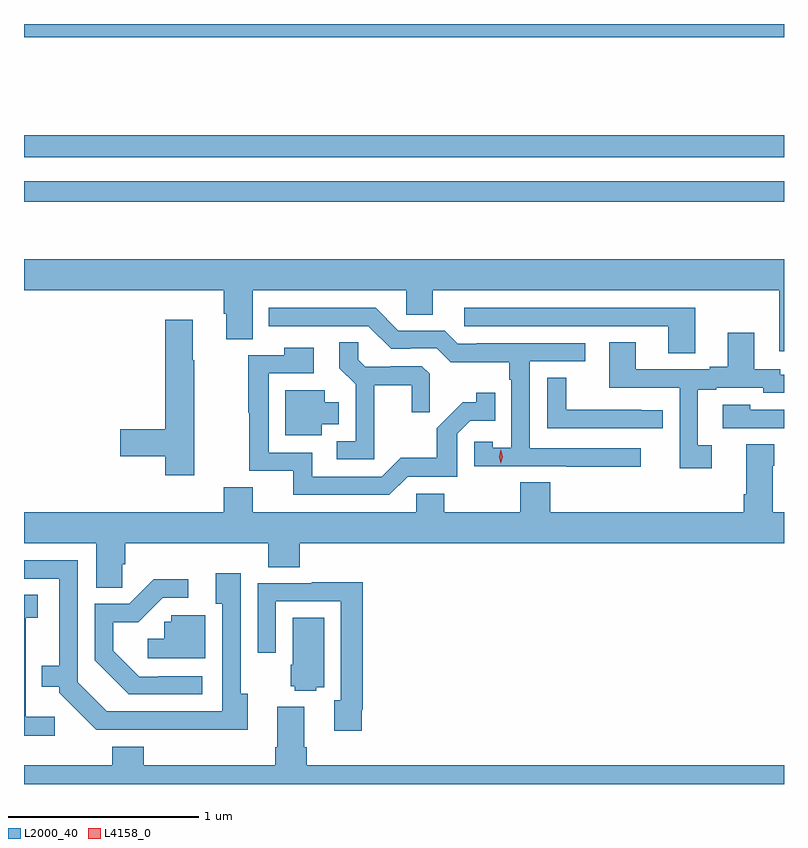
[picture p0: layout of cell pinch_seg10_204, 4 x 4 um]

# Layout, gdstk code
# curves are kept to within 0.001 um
import gdstk
lib = gdstk.Library(unit=1e-6, precision=1e-09)
def R(c, l, rs):  # rectangles x0, y0, x1, y1
    for r in rs: c.add(gdstk.rectangle(r[:2], r[2:], *l))
def P(c, l, *ps):  # polygons
    for p in ps: c.add(gdstk.Polygon(p, *l))
L2000_40 = (2000, 40)
L4158_0 = (4158, 0)

pinch_seg10_204 = lib.new_cell('pinch_seg10_204')
R(pinch_seg10_204, L2000_40, [(768.669,1271.478,772.669,1271.586), (768.669,1271.712,772.669,1271.828), (768.669,1272.344,772.669,1272.414)])
P(pinch_seg10_204, L2000_40, [(772.669,1271.176),(768.669,1271.176),(768.669,1271.012),(769.721,1271.012),(769.721,1270.89),(769.733,1270.89),(769.733,1270.756),(769.873,1270.756),(769.873,1271.012),(770.682,1271.012),(770.682,1270.885),(770.821,1270.885),(770.821,1271.012),(772.643,1271.012),(772.643,1270.692),(772.669,1270.692)],
  [(771.916,1270.182),(771.33,1270.182),(771.33,1270.638),(771.622,1270.638),(771.622,1270.734),(771.052,1270.734),(771.052,1270.731),(770.952,1270.731),(770.883,1270.8),(770.64,1270.8),(770.52,1270.92),(769.958,1270.92),(769.958,1270.824),(770.481,1270.824),(770.601,1270.704),(770.702,1270.704),(770.702,1270.707),(770.841,1270.707),(770.914,1270.634),(771.222,1270.634),(771.222,1270.541),(771.234,1270.541),(771.234,1270.183),(771.135,1270.183),(771.135,1270.215),(771.039,1270.215),(771.039,1270.086),(771.523,1270.086),(771.523,1270.084),(771.916,1270.084)],
  [(772.201,1270.92),(770.985,1270.92),(770.985,1270.824),(772.061,1270.824),(772.061,1270.681),(772.201,1270.681)],
  [(769.566,1270.645),(769.558,1270.645),(769.558,1270.858),(769.412,1270.858),(769.412,1270.28),(769.176,1270.28),(769.176,1270.138),(769.412,1270.138),(769.412,1270.04),(769.566,1270.04)],
  [(772.288,1270.197),(772.216,1270.197),(772.216,1270.488),(772.312,1270.488),(772.312,1270.5),(772.56,1270.5),(772.56,1270.473),(772.669,1270.473),(772.669,1270.569),(772.65,1270.569),(772.65,1270.596),(772.513,1270.596),(772.513,1270.789),(772.373,1270.789),(772.373,1270.609),(772.277,1270.609),(772.277,1270.596),(771.889,1270.596),(771.889,1270.739),(771.749,1270.739),(771.749,1270.5),(772.119,1270.5),(772.119,1270.077),(772.288,1270.077)],
  [(770.513,1270.514),(770.71,1270.514),(770.71,1270.371),(770.804,1270.371),(770.804,1270.573),(770.763,1270.614),(770.598,1270.614),(770.598,1270.611),(770.464,1270.611),(770.427,1270.648),(770.427,1270.739),(770.329,1270.739),(770.329,1270.603),(770.415,1270.517),(770.415,1270.218),(770.316,1270.218),(770.316,1270.122),(770.513,1270.122)],
  [(770.688,1270.032),(770.949,1270.032),(770.949,1270.257),(771.018,1270.326),(771.149,1270.326),(771.149,1270.474),(771.048,1270.474),(771.048,1270.424),(770.978,1270.424),(770.841,1270.286),(770.841,1270.131),(770.652,1270.131),(770.553,1270.032),(770.185,1270.032),(770.185,1270.158),(769.956,1270.158),(769.956,1270.575),(770.194,1270.575),(770.194,1270.711),(770.038,1270.711),(770.038,1270.671),(769.848,1270.671),(769.848,1270.367),(769.855,1270.367),(769.855,1270.062),(770.087,1270.062),(770.087,1269.936),(770.592,1269.936)],
  [(772.03,1270.382),(771.917,1270.382),(771.917,1270.383),(771.522,1270.383),(771.522,1270.553),(771.423,1270.553),(771.423,1270.287),(772.03,1270.287)],
  [(770.236,1270.307),(770.326,1270.307),(770.326,1270.423),(770.251,1270.423),(770.251,1270.486),(770.045,1270.486),(770.045,1270.25),(770.236,1270.25)],
  [(772.669,1270.383),(772.491,1270.383),(772.491,1270.411),(772.347,1270.411),(772.347,1270.287),(772.669,1270.287)],
  [(769.187,1269.57),(769.202,1269.57),(769.202,1269.68),(769.955,1269.68),(769.955,1269.556),(770.12,1269.556),(770.12,1269.68),(772.669,1269.68),(772.669,1269.844),(772.609,1269.844),(772.609,1270.088),(772.617,1270.088),(772.617,1270.201),(772.469,1270.201),(772.469,1269.94),(772.457,1269.94),(772.457,1269.844),(771.44,1269.844),(771.44,1270.001),(771.28,1270.001),(771.28,1269.844),(770.88,1269.844),(770.88,1269.942),(770.733,1269.942),(770.733,1269.844),(769.873,1269.844),(769.873,1269.977),(769.721,1269.977),(769.721,1269.844),(768.669,1269.844),(768.669,1269.68),(769.049,1269.68),(769.049,1269.448),(769.187,1269.448)],
  [(769.846,1268.89),(769.809,1268.89),(769.809,1269.523),(769.679,1269.523),(769.679,1269.362),(769.713,1269.362),(769.713,1268.796),(769.104,1268.796),(768.951,1268.949),(768.951,1269.591),(768.669,1269.591),(768.669,1269.495),(768.854,1269.495),(768.854,1269.037),(768.763,1269.037),(768.763,1268.927),(768.855,1268.927),(768.855,1268.895),(769.05,1268.7),(769.846,1268.699)],
  [(769.606,1268.982),(769.375,1268.982),(769.375,1268.979),(769.275,1268.979),(769.138,1269.116),(769.138,1269.266),(769.271,1269.266),(769.398,1269.393),(769.534,1269.393),(769.534,1269.491),(769.352,1269.491),(769.224,1269.363),(769.041,1269.363),(769.041,1269.065),(769.22,1268.886),(769.606,1268.886)],
  [(770.446,1268.806),(770.453,1268.806),(770.453,1269.475),(770.183,1269.475),(770.183,1269.471),(769.899,1269.471),(769.899,1269.105),(769.995,1269.105),(769.995,1269.375),(770.337,1269.375),(770.337,1268.855),(770.303,1268.855),(770.303,1268.694),(770.446,1268.694)],
  [(768.832,1268.767),(768.678,1268.767),(768.678,1269.289),(768.742,1269.289),(768.742,1269.41),(768.669,1269.41),(768.669,1268.669),(768.832,1268.669)],
  [(769.624,1269.303),(769.443,1269.303),(769.443,1269.267),(769.407,1269.267),(769.407,1269.178),(769.32,1269.178),(769.32,1269.075),(769.624,1269.075)],
  [(770.208,1268.924),(770.248,1268.924),(770.248,1269.29),(770.084,1269.29),(770.084,1269.042),(770.072,1269.042),(770.072,1268.928),(770.094,1268.928),(770.094,1268.906),(770.208,1268.906)],
  [(772.669,1268.512),(770.156,1268.512),(770.156,1268.608),(770.143,1268.608),(770.143,1268.821),(770.003,1268.821),(770.003,1268.608),(769.991,1268.608),(769.991,1268.512),(769.298,1268.512),(769.298,1268.611),(769.133,1268.611),(769.133,1268.512),(768.669,1268.512),(768.669,1268.414),(772.669,1268.414)])
P(pinch_seg10_204, L4158_0, [(771.179,1270.101),(771.179,1270.101),(771.169,1270.137),(771.179,1270.173),(771.179,1270.173),(771.179,1270.173),(771.189,1270.137),(771.179,1270.101)])

lib.write_gds('pinch_seg10_204.gds')
